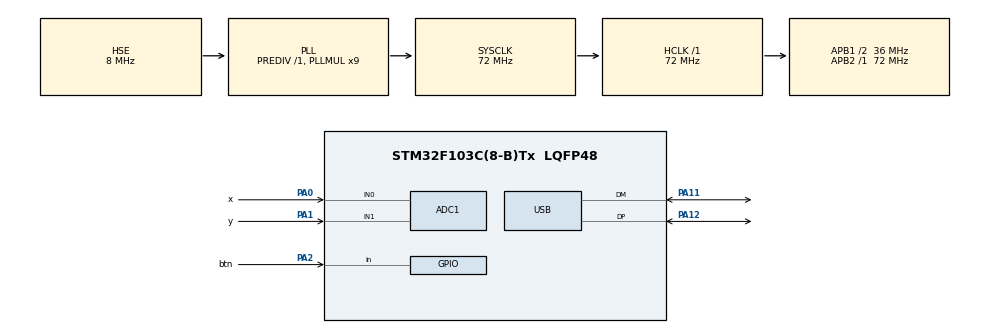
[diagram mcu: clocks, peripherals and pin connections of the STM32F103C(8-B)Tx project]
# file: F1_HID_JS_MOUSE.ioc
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ADC1.Channel-1\#ChannelRegularConversion=ADC_CHANNEL_0
ADC1.Channel-2\#ChannelRegularConversion=ADC_CHANNEL_1
ADC1.ContinuousConvMode=ENABLE
ADC1.NbrOfConversion=2
ADC1.NbrOfConversionFlag=1
ADC1.Rank-1\#ChannelRegularConversion=1
ADC1.Rank-2\#ChannelRegularConversion=2
ADC1.SamplingTime-1\#ChannelRegularConversion=ADC_SAMPLETIME_55CYCLES_5
ADC1.SamplingTime-2\#ChannelRegularConversion=ADC_SAMPLETIME_71CYCLES_5
ADC1.master=1
Dma.ADC1.0.Direction=DMA_PERIPH_TO_MEMORY
Dma.ADC1.0.Instance=DMA1_Channel1
Dma.ADC1.0.MemDataAlignment=DMA_MDATAALIGN_HALFWORD
Dma.ADC1.0.MemInc=DMA_MINC_ENABLE
Dma.ADC1.0.Mode=DMA_CIRCULAR
Dma.ADC1.0.PeriphDataAlignment=DMA_PDATAALIGN_HALFWORD
Dma.ADC1.0.PeriphInc=DMA_PINC_DISABLE
Dma.ADC1.0.Priority=DMA_PRIORITY_HIGH
Dma.Request0=ADC1
Mcu.Family=STM32F1
Mcu.Name=STM32F103C(8-B)Tx
Mcu.Package=LQFP48
NVIC.DMA1_Channel1_IRQn=true\:0\:0\:false\:false\:true\:false\:true\:true
NVIC.PriorityGroup=NVIC_PRIORITYGROUP_4
NVIC.USB_LP_CAN1_RX0_IRQn=true\:0\:0\:false\:false\:true\:true\:true\:true
PA0-WKUP.GPIO_Label=x
PA0-WKUP.Signal=ADCx_IN0
PA1.GPIO_Label=y
PA1.Signal=ADCx_IN1
PA11.Mode=Device
PA11.Signal=USB_DM
PA12.Mode=Device
PA12.Signal=USB_DP
PA13.Mode=Serial_Wire
PA13.Signal=SYS_JTMS-SWDIO
PA14.Mode=Serial_Wire
PA14.Signal=SYS_JTCK-SWCLK
PA2.GPIO_Label=btn 
PA2.GPIO_PuPd=GPIO_PULLUP
PA2.Signal=GPIO_Input
PC14-OSC32_IN.Mode=LSE-External-Oscillator
PC14-OSC32_IN.Signal=RCC_OSC32_IN
PC15-OSC32_OUT.Mode=LSE-External-Oscillator
PC15-OSC32_OUT.Signal=RCC_OSC32_OUT
PD0-OSC_IN.Mode=HSE-External-Oscillator
PD0-OSC_IN.Signal=RCC_OSC_IN
PD1-OSC_OUT.Mode=HSE-External-Oscillator
PD1-OSC_OUT.Signal=RCC_OSC_OUT
ProjectManager.HeapSize=0x200
ProjectManager.StackSize=0x400
ProjectManager.TargetToolchain=STM32CubeIDE
RCC.ADCPresc=RCC_ADCPCLK2_DIV6
RCC.AHBFreq_Value=72000000
RCC.APB1CLKDivider=RCC_HCLK_DIV2
RCC.APB1Freq_Value=36000000
RCC.APB1TimFreq_Value=72000000
RCC.APB2Freq_Value=72000000
RCC.APB2TimFreq_Value=72000000
RCC.HCLKFreq_Value=72000000
RCC.PLLMUL=RCC_PLL_MUL9
RCC.SYSCLKFreq_VALUE=72000000
RCC.SYSCLKSource=RCC_SYSCLKSOURCE_PLLCLK
RCC.USBFreq_Value=48000000
RCC.USBPrescaler=RCC_USBCLKSOURCE_PLL_DIV1_5
SH.ADCx_IN0.0=ADC1_IN0,IN0
SH.ADCx_IN1.0=ADC1_IN1,IN1
board=custom

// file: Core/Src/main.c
/* USER CODE BEGIN Header */
/**
  ******************************************************************************
  * @file           : main.c
  * @brief          : Main program body
  ******************************************************************************
  * @attention
  *
  * Copyright (c) 2025 STMicroelectronics.
  * All rights reserved.
  *
  * This software is licensed under terms that can be found in the LICENSE file
  * in the root directory of this software component.
  * If no LICENSE file comes with this software, it is provided AS-IS.
  *
  ******************************************************************************
  */
/* USER CODE END Header */
#include "main.h"

/* USER CODE BEGIN Includes */
#include "adc_drv.h"
#include "adc_task.h"
#include "axis_typedef.h"
#include "usb_descriptor.h"
#include <math.h>
/* USER CODE END Includes */

/* USER CODE BEGIN PTD */
#include "tusb.h"
/* USER CODE END PTD */

/* USER CODE BEGIN PD */
adc_filter_t adc_filter;
adc_drv_t adc1_drv;
adc_drv_t adc2_drv;

uint16_t adc_raw[ADC_INPUT_TOTAL];
uint16_t adc_filtered[ADC_INPUT_TOTAL];

uint16_t axis_storage[AXIS_OUTPUT_TOTAL];
/* USER CODE END PD */

/* USER CODE BEGIN PM */
int16_t mouse_report[3];
uint16_t ADC_val[2];
/* USER CODE END PM */

ADC_HandleTypeDef hadc1;
DMA_HandleTypeDef hdma_adc1;

PCD_HandleTypeDef hpcd_USB_FS;

/* USER CODE BEGIN PV */
const float scale_factor
      = (1.0F * (USB_MOUSE_MAX- USB_MOUSE_MIN))
        / (AXIS_RANGE_MAX - AXIS_RANGE_MIN);

/** Private Macro
   * -------------------------------------------------------------**/

 #define MOUSE_AXIS_SCALE_FROM_ADC(input)                                     \
      (int8_t) roundf ((input - AXIS_RANGE_MIN) * scale_factor                  \
                        + USB_MOUSE_MIN)
/* USER CODE END PV */

void SystemClock_Config(void);
static void MX_GPIO_Init(void);
static void MX_DMA_Init(void);
static void MX_ADC1_Init(void);
static void MX_USB_PCD_Init(void);
/* USER CODE BEGIN PFP */
void usb_hid_mouse_send(int8_t dx, int8_t dy)
{
    if (!tud_hid_ready()) return;

    my_mouse_hid_report_t report = {
        .buttons = 0,
        .micro_x = dx,
        .micro_y = dy,
    };

    tud_hid_report(0, &report, sizeof(report));
}

/* USER CODE END PFP */

/* USER CODE BEGIN 0 */

void AdcTask_irq_callback (void *arg)
{

}

void Mouse_GetAction(void)
{

	AdcDrv_get_result(&adc1_drv, adc_raw);
	AdcFilter_update(&adc_filter, adc_raw, adc_filtered, ADC_INPUT_TOTAL);

	for (int i = 0; AXIS_OUTPUT_TOTAL > i; ++i)
		{
	       axis_storage[i] = (uint16_t) adc_corrector_update (
	                        &CALIBRATION_DATA_G.data[i], adc_filtered[i]);
	     }
	static uint8_t button = 0;
	if(HAL_GPIO_ReadPin(GPIOA,GPIO_PIN_2) == 0)
		{
			button = 1;
		}
		else
		{
			button = 0;
		}

	mouse_report[0] = button;
	mouse_report[1] = MOUSE_AXIS_SCALE_FROM_ADC(axis_storage[AXIS_JS_X]);
	mouse_report[2] = MOUSE_AXIS_SCALE_FROM_ADC(axis_storage[AXIS_JS_Y]);

}

void Mouse_SendHIDReport(void)
{
    if (!tud_hid_ready()) return;

    my_mouse_hid_report_t report = {
        .buttons = (uint8_t)mouse_report[0],
        .micro_x = (int8_t)mouse_report[1],
        .micro_y = (int8_t)mouse_report[2],
    };

    tud_hid_report(0, &report, sizeof(report));
}

/* USER CODE END 0 */

int main(void)
{

  /* MCU Configuration--------------------------------------------------------*/

  /* Reset of all peripherals, Initializes the Flash interface and the Systick. */
  HAL_Init();

  /* Configure the system clock */
  SystemClock_Config();

  /* Initialize all configured peripherals */
  MX_GPIO_Init();
  MX_DMA_Init();
  MX_ADC1_Init();
  MX_USB_PCD_Init();
  tusb_init();
  /* USER CODE BEGIN 2 */
  AdcDrv_init(&adc1_drv, ADC_DRV_ADC1, AdcTask_irq_callback, NULL);
  AdcDrv_start(&adc1_drv);
  AdcFilter_init(&adc_filter);
  for (int i = 0; i < AXIS_OUTPUT_TOTAL; ++i)
  {
      adc_corrector_init(&CALIBRATION_DATA_G.data[i]);
  }

  /* USER CODE END 2 */

  /* Infinite loop */
  while (1)
  {

    /* USER CODE BEGIN 3 */
	  tud_task();
	  Mouse_GetAction();
	  Mouse_SendHIDReport();

	  HAL_Delay(10);
  }
  /* USER CODE END 3 */
}

void SystemClock_Config(void)
{
  RCC_OscInitTypeDef RCC_OscInitStruct = {0};
  RCC_ClkInitTypeDef RCC_ClkInitStruct = {0};
  RCC_PeriphCLKInitTypeDef PeriphClkInit = {0};

  /** Initializes the RCC Oscillators according to the specified parameters
  * in the RCC_OscInitTypeDef structure.
  */
  RCC_OscInitStruct.OscillatorType = RCC_OSCILLATORTYPE_HSE;
  RCC_OscInitStruct.HSEState = RCC_HSE_ON;
  RCC_OscInitStruct.HSEPredivValue = RCC_HSE_PREDIV_DIV1;
  RCC_OscInitStruct.HSIState = RCC_HSI_ON;
  RCC_OscInitStruct.PLL.PLLState = RCC_PLL_ON;
  RCC_OscInitStruct.PLL.PLLSource = RCC_PLLSOURCE_HSE;
  RCC_OscInitStruct.PLL.PLLMUL = RCC_PLL_MUL9;
  if (HAL_RCC_OscConfig(&RCC_OscInitStruct) != HAL_OK)
  {
    Error_Handler();
  }

  /** Initializes the CPU, AHB and APB buses clocks
  */
  RCC_ClkInitStruct.ClockType = RCC_CLOCKTYPE_HCLK|RCC_CLOCKTYPE_SYSCLK
                              |RCC_CLOCKTYPE_PCLK1|RCC_CLOCKTYPE_PCLK2;
  RCC_ClkInitStruct.SYSCLKSource = RCC_SYSCLKSOURCE_PLLCLK;
  RCC_ClkInitStruct.AHBCLKDivider = RCC_SYSCLK_DIV1;
  RCC_ClkInitStruct.APB1CLKDivider = RCC_HCLK_DIV2;
  RCC_ClkInitStruct.APB2CLKDivider = RCC_HCLK_DIV1;

  if (HAL_RCC_ClockConfig(&RCC_ClkInitStruct, FLASH_LATENCY_2) != HAL_OK)
  {
    Error_Handler();
  }
  PeriphClkInit.PeriphClockSelection = RCC_PERIPHCLK_ADC|RCC_PERIPHCLK_USB;
  PeriphClkInit.AdcClockSelection = RCC_ADCPCLK2_DIV6;
  PeriphClkInit.UsbClockSelection = RCC_USBCLKSOURCE_PLL_DIV1_5;
  if (HAL_RCCEx_PeriphCLKConfig(&PeriphClkInit) != HAL_OK)
  {
    Error_Handler();
  }
}

static void MX_ADC1_Init(void)
{

  ADC_ChannelConfTypeDef sConfig = {0};

  /** Common config
  */
  hadc1.Instance = ADC1;
  hadc1.Init.ScanConvMode = ADC_SCAN_ENABLE;
  hadc1.Init.ContinuousConvMode = ENABLE;
  hadc1.Init.DiscontinuousConvMode = DISABLE;
  hadc1.Init.ExternalTrigConv = ADC_SOFTWARE_START;
  hadc1.Init.DataAlign = ADC_DATAALIGN_RIGHT;
  hadc1.Init.NbrOfConversion = 2;
  if (HAL_ADC_Init(&hadc1) != HAL_OK)
  {
    Error_Handler();
  }

  /** Configure Regular Channel
  */
  sConfig.Channel = ADC_CHANNEL_0;
  sConfig.Rank = ADC_REGULAR_RANK_1;
  sConfig.SamplingTime = ADC_SAMPLETIME_55CYCLES_5;
  if (HAL_ADC_ConfigChannel(&hadc1, &sConfig) != HAL_OK)
  {
    Error_Handler();
  }

  /** Configure Regular Channel
  */
  sConfig.Channel = ADC_CHANNEL_1;
  sConfig.Rank = ADC_REGULAR_RANK_2;
  sConfig.SamplingTime = ADC_SAMPLETIME_71CYCLES_5;
  if (HAL_ADC_ConfigChannel(&hadc1, &sConfig) != HAL_OK)
  {
    Error_Handler();
  }

}

static void MX_USB_PCD_Init(void)
{

  hpcd_USB_FS.Instance = USB;
  hpcd_USB_FS.Init.dev_endpoints = 8;
  hpcd_USB_FS.Init.speed = PCD_SPEED_FULL;
  hpcd_USB_FS.Init.low_power_enable = DISABLE;
  hpcd_USB_FS.Init.lpm_enable = DISABLE;
  hpcd_USB_FS.Init.battery_charging_enable = DISABLE;
  if (HAL_PCD_Init(&hpcd_USB_FS) != HAL_OK)
  {
    Error_Handler();
  }

}

static void MX_DMA_Init(void)
{

  /* DMA controller clock enable */
  __HAL_RCC_DMA1_CLK_ENABLE();

  /* DMA interrupt init */
  /* DMA1_Channel1_IRQn interrupt configuration */
  HAL_NVIC_SetPriority(DMA1_Channel1_IRQn, 0, 0);
  HAL_NVIC_EnableIRQ(DMA1_Channel1_IRQn);

}

static void MX_GPIO_Init(void)
{
  GPIO_InitTypeDef GPIO_InitStruct = {0};

  /* GPIO Ports Clock Enable */
  __HAL_RCC_GPIOC_CLK_ENABLE();
  __HAL_RCC_GPIOD_CLK_ENABLE();
  __HAL_RCC_GPIOA_CLK_ENABLE();

  /*Configure GPIO pin : btn_Pin */
  GPIO_InitStruct.Pin = btn_Pin;
  GPIO_InitStruct.Mode = GPIO_MODE_INPUT;
  GPIO_InitStruct.Pull = GPIO_PULLUP;
  HAL_GPIO_Init(btn_GPIO_Port, &GPIO_InitStruct);

}

void Error_Handler(void)
{
  __disable_irq();
  while (1)
  {
  }
}
